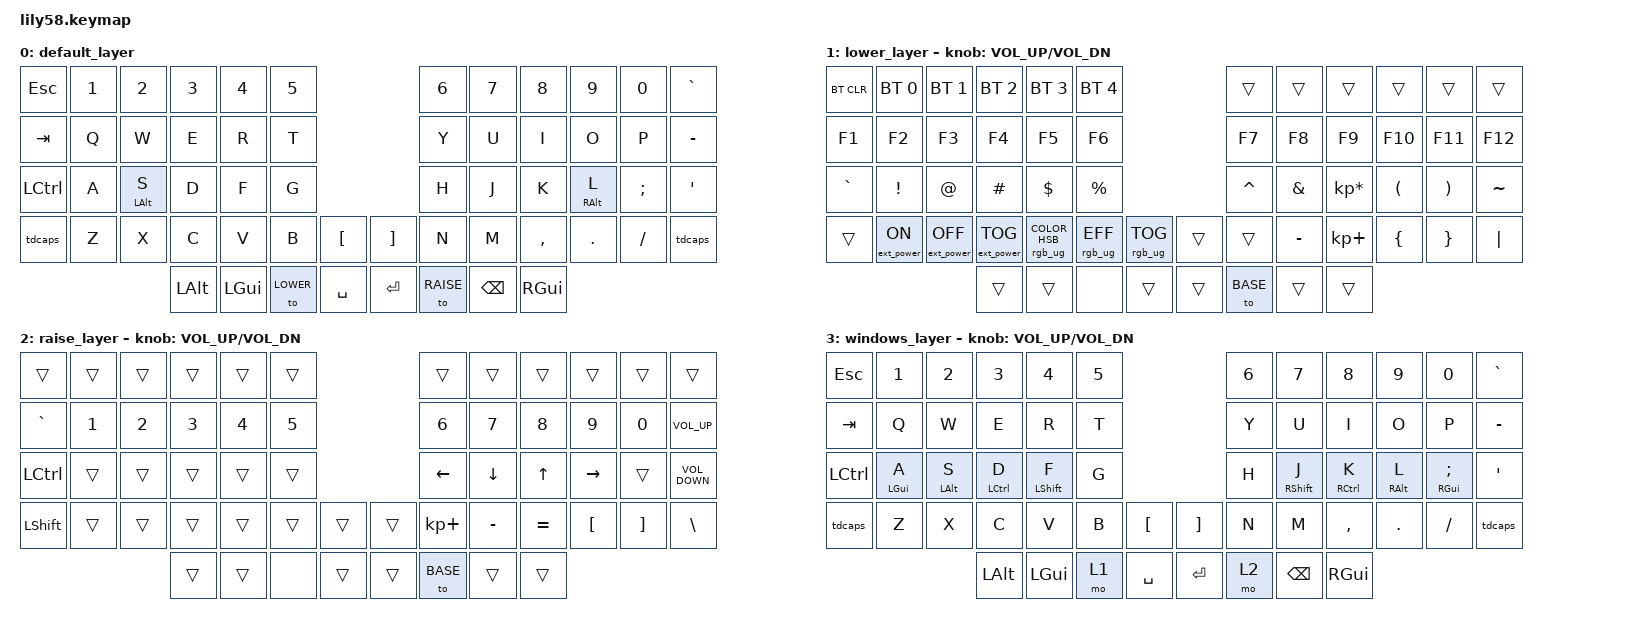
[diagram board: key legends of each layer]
/*
 * Copyright (c) 2020 The ZMK Contributors
 *
 * SPDX-License-Identifier: MIT
 */

// Layers
#define BASE 0
#define LOWER 1
#define RAISE 2
#define WINDOWS 3

#include <behaviors.dtsi>
#include <dt-bindings/zmk/keys.h>
#include <dt-bindings/zmk/bt.h>
#include <dt-bindings/zmk/ext_power.h>

#include <dt-bindings/zmk/rgb.h>

#include "zmk-nodefree-config/helper.h"

// Settings
#include "./includes/settings.dtsi"
#include "./includes/behaviors_homerow_mods.dtsi"

/ {
    chosen {
        zmk,underglow = &led_strip;
    };
};

&led_strip { chain-length = <8>; };

/ {
    behaviors {
        tdcaps: tap_dance_caps {
            compatible = "zmk,behavior-tap-dance";
            label = "TAP_DANCE_CAPS";
            #binding-cells = <0>;
            tapping-term-ms = <200>;
            bindings = <&kp LSHFT>, <&caps_word>;
        };

        tdrepeat: tap_dance_repeat {
            compatible = "zmk,behavior-tap-dance";
            label = "TAP_DANCE_REPEAT";
            #binding-cells = <0>;
            tapping-term-ms = <200>;
            bindings = <&kp SPACE>, <&key_repeat>;
        };
    };

    combos {
        compatible = "zmk,combos";
        combo_caps {
            timeout-ms = <50>;
            key-positions = <36 49>;
            bindings = <&kp CAPS>;
        };
    };

	keymap {
		compatible = "zmk,keymap";

		default_layer {
            bindings = <
//╭───────────┬──────────────┬─────────────┬──────────────┬──────────────┬───────────╮                         ╭───────────┬──────────────┬─────────────┬─────────────┬─────────────────┬───────────╮
    &kp ESC     &kp N1         &kp N2        &kp N3         &kp N4         &kp N5                                &kp N6      &kp N7         &kp N8        &kp N9        &kp N0            &kp GRAVE
//├───────────┼──────────────┼─────────────┼──────────────┼──────────────┼───────────┤                         ├───────────┼──────────────┼─────────────┼─────────────┼─────────────────┼───────────┤
    &kp TAB     &kp Q          &kp W         &kp E          &kp R          &kp T                                 &kp Y       &kp U          &kp I         &kp O         &kp P             &kp MINUS
//├───────────┼──────────────┼─────────────┼──────────────┼──────────────┼───────────┤                         ├───────────┼──────────────┼─────────────┼─────────────┼─────────────────┼───────────┤
//    &kp LCTRL   &hml LCTRL A   &hml LALT S   &hml LGUI D    &hml LSHFT F   &kp G                                 &kp H       &hmr RSHFT J   &hmr RGUI K   &hmr RALT L   &hmr RCTRL SEMI   &kp SQT
    &kp LCTRL   &kp A          &hml LALT S   &kp D          &kp F          &kp G                                 &kp H       &kp J          &kp K         &hmr RALT L   &kp SEMI          &kp SQT
//├───────────┼──────────────┼─────────────┼──────────────┼──────────────┼───────────┼───────────╮   ╭─────────┼───────────┼──────────────┼─────────────┼─────────────┼─────────────────┼───────────┤
    &tdcaps     &kp Z          &kp X         &kp C          &kp V          &kp B       &kp LBKT        &kp RBKT  &kp N       &kp M          &kp COMMA     &kp DOT       &kp FSLH          &tdcaps
//╰───────────┴──────────────┴─────────────┼──────────────┼──────────────┼───────────┼───────────┤   ├─────────┼───────────┼──────────────┼─────────────┼─────────────┴─────────────────┴───────────╯
                                            &kp LALT        &kp LGUI       &to LOWER   &kp SPACE       &kp RET   &to RAISE   &kp BSPC       &kp RGUI
//                                         ╰──────────────┴──────────────┴───────────┴───────────╯   ╰─────────┴───────────┴──────────────┴─────────────╯
			>;
        };

		lower_layer {
// ------------------------------------------------------------------------------------------------------------
// | BTCLR | BT1 | BT2  |  BT3 |  BT4 |  BT5 |                   |      |       |       |      |       |       |
// |  F1   |  F2 |  F3  |  F4  |  F5  |  F6  |                   |  F7  |  F8   |  F9   |  F10 |  F11  |  F12  |
// |   `   |  !  |  @   |  #   |  $   |  %   |                   |  ^   |  &    |  *    |  (   |   )   |   ~   |
// |       |EP_ON|EP_OFF|EP_TOG|RGBCLR|RGBEFF| RGB_TOG|          |      |  _    |  +    |  {   |   }   |  "|"  |
//                      |      |      |      |        |          |      |       |       |
			bindings = <
//╭───────────┬──────────────┬─────────────┬──────────────┬──────────────┬───────────╮                         ╭───────────┬──────────────┬─────────────┬─────────────┬─────────────────┬───────────╮
    &bt BT_CLR  &bt BT_SEL 0   &bt BT_SEL 1  &bt BT_SEL 2   &bt BT_SEL 3   &bt BT_SEL 4                          &trans      &trans         &trans         &trans       &trans            &trans
//├───────────┼──────────────┼─────────────┼──────────────┼──────────────┼───────────┤                         ├───────────┼──────────────┼─────────────┼─────────────┼─────────────────┼───────────┤
    &kp F1      &kp F2         &kp F3        &kp F4         &kp F5         &kp F6                                &kp F7      &kp F8         &kp F9         &kp F10      &kp F11           &kp F12
//├───────────┼──────────────┼─────────────┼──────────────┼──────────────┼───────────┤                         ├───────────┼──────────────┼─────────────┼─────────────┼─────────────────┼───────────┤
    &kp GRAVE   &kp EXCL       &kp AT        &kp HASH       &kp DOLLAR     &kp PRCNT                             &kp CARET   &kp AMPS       &kp KP_MULTIPLY &kp LPAR    &kp RPAR          &kp TILDE
//├───────────┼──────────────┼─────────────┼──────────────┼──────────────┼───────────┼───────────╮   ╭─────────┼───────────┼──────────────┼─────────────┼─────────────┼─────────────────┼───────────┤
    &trans      &ext_power EP_ON  &ext_power EP_OFF  &ext_power EP_TOG &rgb_ug RGB_COLOR_HSB(49,98,95) &rgb_ug RGB_EFF &rgb_ug RGB_TOG &trans     &trans    &kp MINUS       &kp KP_PLUS   &kp LBRC        &kp RBRC  &kp PIPE
//╰───────────┴──────────────┴─────────────┼──────────────┼──────────────┼───────────┼───────────┤   ├─────────┼───────────┼──────────────┼─────────────┼─────────────┴─────────────────┴───────────╯
                                               &trans        &trans         &none      &trans         &trans     &to BASE    &trans          &trans
//                                         ╰──────────────┴──────────────┴───────────┴───────────╯   ╰─────────┴───────────┴──────────────┴─────────────╯
			>;

			sensor-bindings = <&inc_dec_kp C_VOL_UP C_VOL_DN>;
		};

		raise_layer {
			bindings = <
//╭───────────┬──────────────┬─────────────┬──────────────┬──────────────┬───────────╮                         ╭───────────┬──────────────┬─────────────┬─────────────┬─────────────────┬───────────╮
    &trans      &trans         &trans        &trans         &trans         &trans                                &trans      &trans         &trans        &trans        &trans            &trans
//├───────────┼──────────────┼─────────────┼──────────────┼──────────────┼───────────┤                         ├───────────┼──────────────┼─────────────┼─────────────┼─────────────────┼───────────┤
    &kp GRAVE   &kp N1         &kp N2        &kp N3         &kp N4         &kp N5                                &kp N6      &kp N7         &kp N8        &kp N9        &kp N0            &kp K_VOLUME_UP
//├───────────┼──────────────┼─────────────┼──────────────┼──────────────┼───────────┤                         ├───────────┼──────────────┼─────────────┼─────────────┼─────────────────┼───────────┤
    &kp LCTRL   &trans         &trans        &trans         &trans         &trans                                &kp LEFT    &kp DOWN       &kp UP        &kp RIGHT     &trans            &kp K_VOLUME_DOWN
//├───────────┼──────────────┼─────────────┼──────────────┼──────────────┼───────────┼───────────╮   ╭─────────┼───────────┼──────────────┼─────────────┼─────────────┼─────────────────┼───────────┤
    &kp LSHFT   &trans         &trans        &trans         &trans         &trans      &trans          &trans    &kp KP_PLUS &kp MINUS      &kp EQUAL     &kp LBKT      &kp RBKT          &kp BSLH
//╰───────────┴──────────────┴─────────────┼──────────────┼──────────────┼───────────┼───────────┤   ├─────────┼───────────┼──────────────┼─────────────┼─────────────┴─────────────────┴───────────╯
                                             &trans         &trans         &none       &trans          &trans    &to BASE     &trans         &trans
//                                         ╰──────────────┴──────────────┴───────────┴───────────╯   ╰─────────┴───────────┴──────────────┴─────────────╯
			>;

			sensor-bindings = <&inc_dec_kp C_VOL_UP C_VOL_DN>;
		};

		windows_layer {
            bindings = <
//╭───────────┬─────────────┬─────────────┬───────────────┬──────────────┬────────╮                         ╭────────┬──────────────┬──────────────┬─────────────┬────────────────┬───────────╮
    &kp ESC     &kp N1        &kp N2        &kp N3          &kp N4         &kp N5                             &kp N6   &kp N7         &kp N8         &kp N9        &kp N0           &kp GRAVE
//├───────────┼─────────────┼─────────────┼───────────────┼──────────────┼────────┤                         ├────────┼──────────────┼──────────────┼─────────────┼────────────────┼───────────┤
    &kp TAB     &kp Q         &kp W         &kp E           &kp R          &kp T                              &kp Y    &kp U          &kp I          &kp O         &kp P            &kp MINUS
//├───────────┼─────────────┼─────────────┼───────────────┼──────────────┼────────┤                         ├────────┼──────────────┼──────────────┼─────────────┼────────────────┼───────────┤
    &kp LCTRL   &hml LGUI A   &hml LALT S   &hml LCTRL D    &hml LSHFT F   &kp G                              &kp H    &hmr RSHFT J   &hmr RCTRL K   &hmr RALT L   &hmr RGUI SEMI   &kp SQT
//├───────────┼─────────────┼─────────────┼───────────────┼──────────────┼────────┼───────────╮   ╭─────────┼────────┼──────────────┼──────────────┼─────────────┼────────────────┼───────────┤
    &tdcaps     &kp Z         &kp X         &kp C           &kp V          &kp B    &kp LBKT        &kp RBKT  &kp N    &kp M          &kp COMMA      &kp DOT       &kp FSLH         &tdcaps
//╰───────────┴─────────────┴─────────────┼───────────────┼──────────────┼────────┼───────────┤   ├─────────┼────────┼──────────────┼──────────────┼─────────────┴────────────────┴───────────╯
                                            &kp LALT        &kp LGUI       &mo 1    &kp SPACE       &kp RET   &mo 2    &kp BSPC       &kp RGUI
//                                        ╰───────────────┴──────────────┴────────┴───────────╯   ╰─────────┴────────┴──────────────┴──────────────╯         
			>;

			sensor-bindings = <&inc_dec_kp C_VOL_UP C_VOL_DN>;
		};

	};
};


